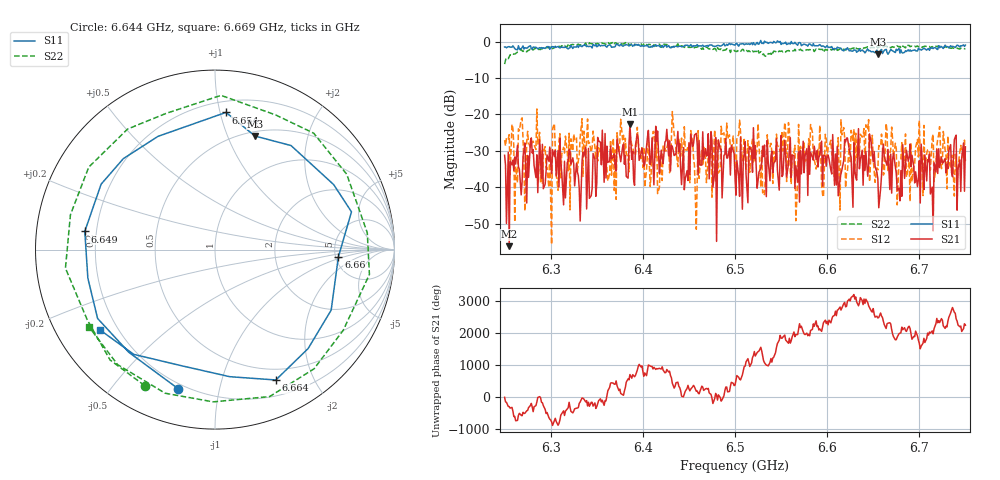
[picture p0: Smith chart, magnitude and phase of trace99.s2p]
# Hz S RI R 50
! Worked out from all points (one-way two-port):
!   401 points, 6.25 GHz to 6.75 GHz, reference 50 ohm
!   highest |S21| = -22.73 dB at 6.386 GHz (marker M1); lowest = -56.2 dB at 6.255 GHz (marker M2)
!   lowest |S11| = -3.5 dB at 6.655 GHz (marker M3), VSWR 5.08, Z = 27.4 + j63 ohm
!   |S11| at or under -10 dB: nowhere
!   |S22| runs from -6.1 to -0.1 dB; largest |S21 - S12| = 0.12
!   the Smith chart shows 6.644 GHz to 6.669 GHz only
!   S11 on the Smith chart (normalised r, x): 6.644 GHz: 0.17, -0.76; 6.649 GHz: 0.16, +0.07; 6.654 GHz: 0.28, +1.04; 6.66 GHz: 5.29, -0.82; 6.664 GHz: 0.37, -1.51; 6.669 GHz: 0.13, -0.31
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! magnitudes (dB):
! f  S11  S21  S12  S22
! 6.25 GHz  -1.4  -31.2  -27.1  -6.1
! 6.255 GHz  -1.3  -56.2  -25.6  -4.1
! 6.285 GHz  -1.7  -31.1  -18.5  -2.1
! 6.299 GHz  -2.1  -29.0  -29.0  -1.4
! 6.334 GHz  -1.4  -33.1  -21.2  -0.8
! 6.386 GHz  -0.8  -22.7  -25.5  -1.0
! 6.418 GHz  -1.2  -36.2  -40.1  -0.7
! 6.434 GHz  -1.5  -31.3  -25.6  -1.2
! 6.5 GHz  -1.0  -37.0  -30.2  -2.5
! 6.524 GHz  -0.2  -40.3  -29.2  -2.6
! 6.53 GHz  -0.4  -28.7  -41.6  -3.5
! 6.536 GHz  -0.4  -32.8  -27.8  -3.3
! 6.584 GHz  -1.2  -31.8  -24.9  -2.3
! 6.644 GHz  -1.9  -37.0  -24.1  -1.4
! 6.649 GHz  -2.7  -30.9  -25.7  -1.6
! 6.654 GHz  -2.3  -35.9  -34.7  -1.3
! 6.655 GHz  -3.5  -37.7  -35.3  -1.7
! 6.66 GHz  -3.2  -30.5  -28.7  -1.2
! 6.664 GHz  -1.9  -33.2  -22.4  -1.2
! 6.668 GHz  -2.6  -40.6  -30.9  -1.5
! 6.669 GHz  -2.1  -30.9  -29.6  -1.7
! 6.75 GHz  -0.9  -28.9  -32.8  -1.9
